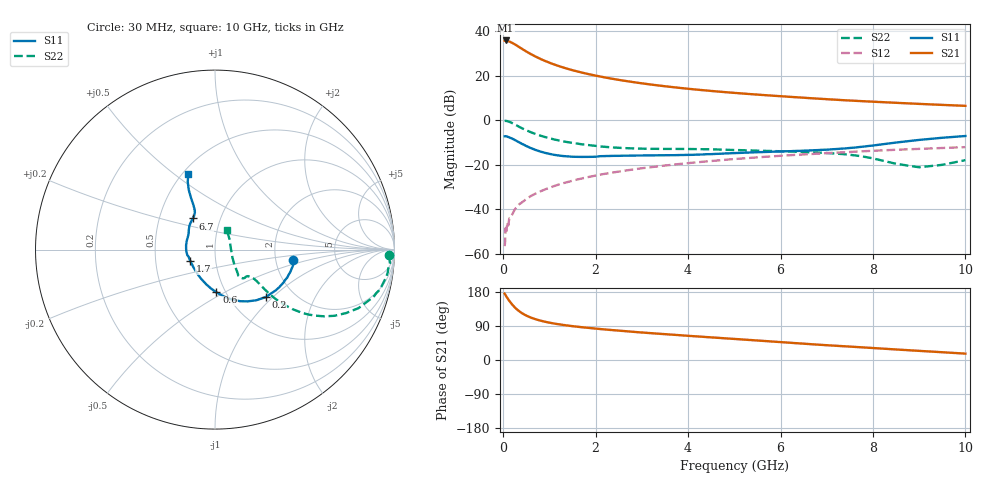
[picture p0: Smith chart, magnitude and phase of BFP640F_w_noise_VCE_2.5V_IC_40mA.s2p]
! Infineon Technologies  Discrete & RF Semiconductors
! BFP640F
! VCE =  2.5 V,  IC =  40 mA
! Common Emitter S-Parameters:  Apr 2013
# GHz  S  MA  R  50
!  f  S11  S21  S12  S22
! GHz  MAG  ANG  MAG  ANG  MAG  ANG  MAG  ANG
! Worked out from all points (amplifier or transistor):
!   99 points, 30 MHz to 10 GHz, reference 50 ohm
!   highest |S21| = 35.9 dB at 50 MHz (marker M1)
!   |S21| within 3 dB of that: start of sweep to 346.8 MHz
!   unconditionally stable (mu >= 1): 1.577 GHz to end of sweep
!   at 350 MHz: K = 0.56, MSG = 35.2 dB, |S12| = -37.6 dB
!   at 3.5 GHz: K = 1.06, MAG = 16.3 dB, |S12| = -20.3 dB
!   at 10 GHz: K = 1.04, MAG = 8.0 dB, |S12| = -12.0 dB
!   lowest NFmin = 1.22 dB at 450 MHz
!   S11 on the Smith chart (normalised r, x): 30 MHz: 2.51, -0.35; 200 MHz: 1.45, -0.90; 600 MHz: 0.91, -0.46; 1.7 GHz: 0.75, -0.10; 6.7 GHz: 0.74, +0.27; 10 GHz: 0.54, +0.56
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0.03  0.439 -7.4  61.37 175.2  0.0015 99.2  0.9697 -1.8
0.05  0.4437 -11.5  62.31 171.5  0.0038 111.3  0.9779 -4.6
0.08  0.4334 -18.9  61.81 165.4  0.0042 84.7  0.9665 -9.1
0.11  0.4238 -25.6  60.14 159.9  0.0044 78.9  0.949 -12.8
0.15  0.4075 -33.9  57.95 153.2  0.0064 79.1  0.9124 -17.4
0.2  0.387 -43.2  54.61 145.5  0.0079 75.9  0.8635 -22.2
0.25  0.3639 -50.9  51.08 138.9  0.01 78.2  0.8105 -25.9
0.3  0.3411 -57.7  47.49 133.2  0.0116 77.5  0.7607 -29.0
0.35  0.3196 -64.1  43.89 128.3  0.0132 75.3  0.7137 -31.4
0.4  0.299 -69.5  40.79 124.1  0.0143 76.5  0.6704 -33.3
0.5  0.2654 -79.3  35.21 117.2  0.0172 74.4  0.5993 -36.0
0.6  0.2383 -88.1  30.73 111.8  0.0201 74.6  0.5419 -37.6
0.8  0.2004 -103.7  24.13 104.0  0.0254 74.5  0.4564 -39.0
1  0.177 -117.6  19.71 98.5  0.0307 73.9  0.3978 -39.2
1.3  0.1582 -135.5  15.38 92.5  0.039 73.4  0.3384 -38.3
1.7  0.1514 -154.5  11.86 86.5  0.0497 72.0  0.2907 -37.0
2.4  0.1599 -176.7  8.458 78.5  0.0684 68.8  0.2459 -38.0
3.4  0.1651 162.0  6.009 69.0  0.0942 63.6  0.2289 -41.7
5.1  0.1859 141.3  4.071 54.8  0.1378 54.4  0.2152 -47.0
6.7  0.2133 125.5  3.129 41.4  0.1766 45.0  0.1911 -47.7
8.5  0.3181 114.9  2.482 27.8  0.2189 34.4  0.1061 -24.1
10  0.4461 109.5  2.121 16.8  0.251 25.6  0.1282 59.6
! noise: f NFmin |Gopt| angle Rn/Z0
0.45  1.22  0.25  -172  0.08
0.9  1.22  0.26  -169  0.08
1.5  1.25  0.28  -162  0.09
1.9  1.28  0.29  -155  0.1
2.4  1.3  0.3  -146  0.1
3.5  1.38  0.31  -135  0.12
5.5  1.59  0.33  -117  0.16
10  2.07  0.48  -81  0.56
